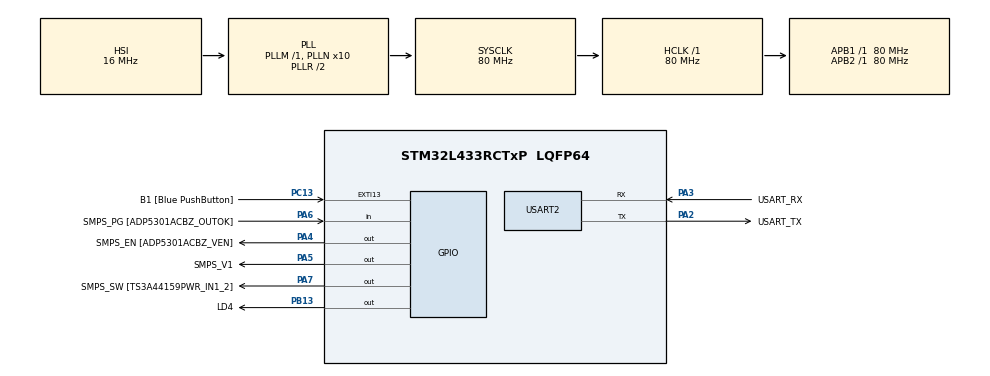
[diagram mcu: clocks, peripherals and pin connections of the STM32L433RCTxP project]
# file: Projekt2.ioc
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Mcu.Family=STM32L4
Mcu.Name=STM32L433RCTxP
Mcu.Package=LQFP64
NVIC.PriorityGroup=NVIC_PRIORITYGROUP_4
PA13\ (JTMS-SWDIO).GPIO_Label=TMS
PA13\ (JTMS-SWDIO).Mode=Serial_Wire
PA13\ (JTMS-SWDIO).Signal=SYS_JTMS-SWDIO
PA14\ (JTCK-SWCLK).GPIO_Label=TCK
PA14\ (JTCK-SWCLK).Mode=Serial_Wire
PA14\ (JTCK-SWCLK).Signal=SYS_JTCK-SWCLK
PA2.GPIO_Label=USART_TX
PA2.GPIO_Mode=GPIO_MODE_AF_PP
PA2.GPIO_PuPd=GPIO_NOPULL
PA2.GPIO_Speed=GPIO_SPEED_FREQ_VERY_HIGH
PA2.Mode=Asynchronous
PA2.Signal=USART2_TX
PA3.GPIO_Label=USART_RX
PA3.GPIO_Mode=GPIO_MODE_AF_PP
PA3.GPIO_PuPd=GPIO_NOPULL
PA3.GPIO_Speed=GPIO_SPEED_FREQ_VERY_HIGH
PA3.Mode=Asynchronous
PA3.Signal=USART2_RX
PA4.GPIO_Label=SMPS_EN [ADP5301ACBZ_VEN]
PA4.Signal=GPIO_Output
PA5.GPIO_Label=SMPS_V1
PA5.GPIO_ModeDefaultOutputPP=GPIO_MODE_OUTPUT_PP
PA5.GPIO_PuPd=GPIO_NOPULL
PA5.GPIO_Speed=GPIO_SPEED_FREQ_LOW
PA5.Signal=GPIO_Output
PA6.GPIO_Label=SMPS_PG [ADP5301ACBZ_OUTOK]
PA6.GPIO_PuPd=GPIO_PULLUP
PA6.Signal=GPIO_Input
PA7.GPIO_Label=SMPS_SW [TS3A44159PWR_IN1_2]
PA7.Signal=GPIO_Output
PB13.GPIO_Label=LD4
PB13.Signal=GPIO_Output
PB3\ (JTDO-TRACESWO).GPIO_Label=SWO
PB3\ (JTDO-TRACESWO).Signal=SYS_JTDO-SWO
PC13.GPIO_Label=B1 [Blue PushButton]
PC13.GPIO_ModeDefaultEXTI=GPIO_MODE_IT_FALLING
PC13.GPIO_PuPd=GPIO_NOPULL
PC13.Signal=GPXTI13
PC14-OSC32_IN\ (PC14).Mode=LSE-External-Oscillator
PC14-OSC32_IN\ (PC14).Signal=RCC_OSC32_IN
PC15-OSC32_OUT\ (PC15).Mode=LSE-External-Oscillator
PC15-OSC32_OUT\ (PC15).Signal=RCC_OSC32_OUT
PH0-OSC_IN\ (PH0).GPIO_Label=MCO
PH0-OSC_IN\ (PH0).Mode=HSE-External-Clock-Source
PH0-OSC_IN\ (PH0).Signal=RCC_OSC_IN
PH1-OSC_OUT\ (PH1).Signal=RCC_OSC_OUT
ProjectManager.HeapSize=0x200
ProjectManager.StackSize=0x400
ProjectManager.TargetToolchain=STM32CubeIDE
RCC.ADCFreq_Value=64000000
RCC.AHBFreq_Value=80000000
RCC.APB1Freq_Value=80000000
RCC.APB1TimFreq_Value=80000000
RCC.APB2Freq_Value=80000000
RCC.APB2TimFreq_Value=80000000
RCC.CortexFreq_Value=80000000
RCC.HCLKFreq_Value=80000000
RCC.HSE_VALUE=8000000
RCC.HSI48_VALUE=48000000
RCC.HSI_VALUE=16000000
RCC.MSI_VALUE=4000000
RCC.PLLN=10
RCC.PLLSourceVirtual=RCC_PLLSOURCE_HSI
RCC.PREFETCH_ENABLE=1
RCC.SYSCLKFreq_VALUE=80000000
RCC.SYSCLKSource=RCC_SYSCLKSOURCE_PLLCLK
RCC.USBFreq_Value=64000000
RCC.VCOOutputFreq_Value=160000000
USART2.OverrunDisableParam=ADVFEATURE_OVERRUN_DISABLE
USART2.VirtualMode-Asynchronous=VM_ASYNC
board=NUCLEO-L433RC-P

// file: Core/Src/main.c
/* USER CODE BEGIN Header */
/**
  ******************************************************************************
  * @file           : main.c
  * @brief          : Main program body
  ******************************************************************************
  * @attention
  *
  * Copyright (c) 2023 STMicroelectronics.
  * All rights reserved.
  *
  * This software is licensed under terms that can be found in the LICENSE file
  * in the root directory of this software component.
  * If no LICENSE file comes with this software, it is provided AS-IS.
  *
  ******************************************************************************
  */
/* USER CODE END Header */
#include "main.h"

/* USER CODE BEGIN Includes */
#include <string.h>
#include <stdio.h>

/* USER CODE END Includes */

UART_HandleTypeDef huart2;

void SystemClock_Config(void);
static void MX_GPIO_Init(void);
static void MX_USART2_UART_Init(void);

/* USER CODE BEGIN 0 */
#define LINE_MAX_LENGTH	80

static char line_buffer[LINE_MAX_LENGTH + 1];
static uint32_t line_length;

void line_append(uint8_t value)
{
	if (value == '\r' || value == '\n') {
		// odebraliśmy znak końca linii
		if (line_length > 0) {
			// dodajemy 0 na końcu linii
			line_buffer[line_length] = '\0';
			// przetwarzamy dane
			if (strcmp(line_buffer, "włącz") == 0) {
				HAL_GPIO_WritePin(LD4_GPIO_Port, LD4_Pin, GPIO_PIN_SET);
			} else if (strcmp(line_buffer, "wyłącz") == 0) {
				HAL_GPIO_WritePin(LD4_GPIO_Port, LD4_Pin, GPIO_PIN_RESET);
			} else {
				printf("Nieznane polecenie: %s\n", line_buffer);
			}
			// zaczynamy zbieranie danych od nowa
			line_length = 0;
		}
	}
	else {
		if (line_length >= LINE_MAX_LENGTH) {
			// za dużo danych, usuwamy wszystko co odebraliśmy dotychczas
			line_length = 0;
		}
		// dopisujemy wartość do bufora
		line_buffer[line_length++] = value;
	}
}
int __io_putchar(int ch)
{
	if (ch == '\n'){
		uint8_t ch2 = '\r';
		HAL_UART_Transmit(&huart2, &ch2, 1, HAL_MAX_DELAY);
	}
    HAL_UART_Transmit(&huart2, (uint8_t*)&ch, 1, HAL_MAX_DELAY);
    return 1;
}

/* USER CODE END 0 */

int main(void)
{

  /* MCU Configuration--------------------------------------------------------*/

  /* Reset of all peripherals, Initializes the Flash interface and the Systick. */
  HAL_Init();

  /* Configure the system clock */
  SystemClock_Config();

  /* Initialize all configured peripherals */
  MX_GPIO_Init();
  MX_USART2_UART_Init();
  /* USER CODE BEGIN 2 */
  // printf("Hello world! 1 ");
   //printf("Hello world! 2 ");
   //printf("Hello world! 3 ");
   //fflush(stdout);
  /* USER CODE END 2 */

  /* Infinite loop */
  /* USER CODE BEGIN WHILE */
  while (1)
  {

	  uint8_t value;
	  	  if (HAL_UART_Receive(&huart2, &value, 1, 0) == HAL_OK)
	  		  line_append(value);
    /* USER CODE END WHILE */

  }
}

void SystemClock_Config(void)
{
  RCC_OscInitTypeDef RCC_OscInitStruct = {0};
  RCC_ClkInitTypeDef RCC_ClkInitStruct = {0};

  /** Configure the main internal regulator output voltage
  */
  if (HAL_PWREx_ControlVoltageScaling(PWR_REGULATOR_VOLTAGE_SCALE1) != HAL_OK)
  {
    Error_Handler();
  }

  /** Initializes the RCC Oscillators according to the specified parameters
  * in the RCC_OscInitTypeDef structure.
  */
  RCC_OscInitStruct.OscillatorType = RCC_OSCILLATORTYPE_HSI;
  RCC_OscInitStruct.HSIState = RCC_HSI_ON;
  RCC_OscInitStruct.HSICalibrationValue = RCC_HSICALIBRATION_DEFAULT;
  RCC_OscInitStruct.PLL.PLLState = RCC_PLL_ON;
  RCC_OscInitStruct.PLL.PLLSource = RCC_PLLSOURCE_HSI;
  RCC_OscInitStruct.PLL.PLLM = 1;
  RCC_OscInitStruct.PLL.PLLN = 10;
  RCC_OscInitStruct.PLL.PLLP = RCC_PLLP_DIV7;
  RCC_OscInitStruct.PLL.PLLQ = RCC_PLLQ_DIV2;
  RCC_OscInitStruct.PLL.PLLR = RCC_PLLR_DIV2;
  if (HAL_RCC_OscConfig(&RCC_OscInitStruct) != HAL_OK)
  {
    Error_Handler();
  }

  /** Initializes the CPU, AHB and APB buses clocks
  */
  RCC_ClkInitStruct.ClockType = RCC_CLOCKTYPE_HCLK|RCC_CLOCKTYPE_SYSCLK
                              |RCC_CLOCKTYPE_PCLK1|RCC_CLOCKTYPE_PCLK2;
  RCC_ClkInitStruct.SYSCLKSource = RCC_SYSCLKSOURCE_PLLCLK;
  RCC_ClkInitStruct.AHBCLKDivider = RCC_SYSCLK_DIV1;
  RCC_ClkInitStruct.APB1CLKDivider = RCC_HCLK_DIV1;
  RCC_ClkInitStruct.APB2CLKDivider = RCC_HCLK_DIV1;

  if (HAL_RCC_ClockConfig(&RCC_ClkInitStruct, FLASH_LATENCY_4) != HAL_OK)
  {
    Error_Handler();
  }
}

static void MX_USART2_UART_Init(void)
{

  huart2.Instance = USART2;
  huart2.Init.BaudRate = 115200;
  huart2.Init.WordLength = UART_WORDLENGTH_8B;
  huart2.Init.StopBits = UART_STOPBITS_1;
  huart2.Init.Parity = UART_PARITY_NONE;
  huart2.Init.Mode = UART_MODE_TX_RX;
  huart2.Init.HwFlowCtl = UART_HWCONTROL_NONE;
  huart2.Init.OverSampling = UART_OVERSAMPLING_16;
  huart2.Init.OneBitSampling = UART_ONE_BIT_SAMPLE_DISABLE;
  huart2.AdvancedInit.AdvFeatureInit = UART_ADVFEATURE_RXOVERRUNDISABLE_INIT;
  huart2.AdvancedInit.OverrunDisable = UART_ADVFEATURE_OVERRUN_DISABLE;
  if (HAL_UART_Init(&huart2) != HAL_OK)
  {
    Error_Handler();
  }

}

static void MX_GPIO_Init(void)
{
  GPIO_InitTypeDef GPIO_InitStruct = {0};

  /* GPIO Ports Clock Enable */
  __HAL_RCC_GPIOC_CLK_ENABLE();
  __HAL_RCC_GPIOH_CLK_ENABLE();
  __HAL_RCC_GPIOA_CLK_ENABLE();
  __HAL_RCC_GPIOB_CLK_ENABLE();

  /*Configure GPIO pin Output Level */
  HAL_GPIO_WritePin(GPIOA, SMPS_EN_Pin|SMPS_V1_Pin|SMPS_SW_Pin, GPIO_PIN_RESET);

  /*Configure GPIO pin Output Level */
  HAL_GPIO_WritePin(LD4_GPIO_Port, LD4_Pin, GPIO_PIN_RESET);

  /*Configure GPIO pin : B1_Pin */
  GPIO_InitStruct.Pin = B1_Pin;
  GPIO_InitStruct.Mode = GPIO_MODE_IT_FALLING;
  GPIO_InitStruct.Pull = GPIO_NOPULL;
  HAL_GPIO_Init(B1_GPIO_Port, &GPIO_InitStruct);

  /*Configure GPIO pins : SMPS_EN_Pin SMPS_V1_Pin SMPS_SW_Pin */
  GPIO_InitStruct.Pin = SMPS_EN_Pin|SMPS_V1_Pin|SMPS_SW_Pin;
  GPIO_InitStruct.Mode = GPIO_MODE_OUTPUT_PP;
  GPIO_InitStruct.Pull = GPIO_NOPULL;
  GPIO_InitStruct.Speed = GPIO_SPEED_FREQ_LOW;
  HAL_GPIO_Init(GPIOA, &GPIO_InitStruct);

  /*Configure GPIO pin : SMPS_PG_Pin */
  GPIO_InitStruct.Pin = SMPS_PG_Pin;
  GPIO_InitStruct.Mode = GPIO_MODE_INPUT;
  GPIO_InitStruct.Pull = GPIO_PULLUP;
  HAL_GPIO_Init(SMPS_PG_GPIO_Port, &GPIO_InitStruct);

  /*Configure GPIO pin : LD4_Pin */
  GPIO_InitStruct.Pin = LD4_Pin;
  GPIO_InitStruct.Mode = GPIO_MODE_OUTPUT_PP;
  GPIO_InitStruct.Pull = GPIO_NOPULL;
  GPIO_InitStruct.Speed = GPIO_SPEED_FREQ_LOW;
  HAL_GPIO_Init(LD4_GPIO_Port, &GPIO_InitStruct);

}

void Error_Handler(void)
{
  __disable_irq();
  while (1)
  {
  }
}
